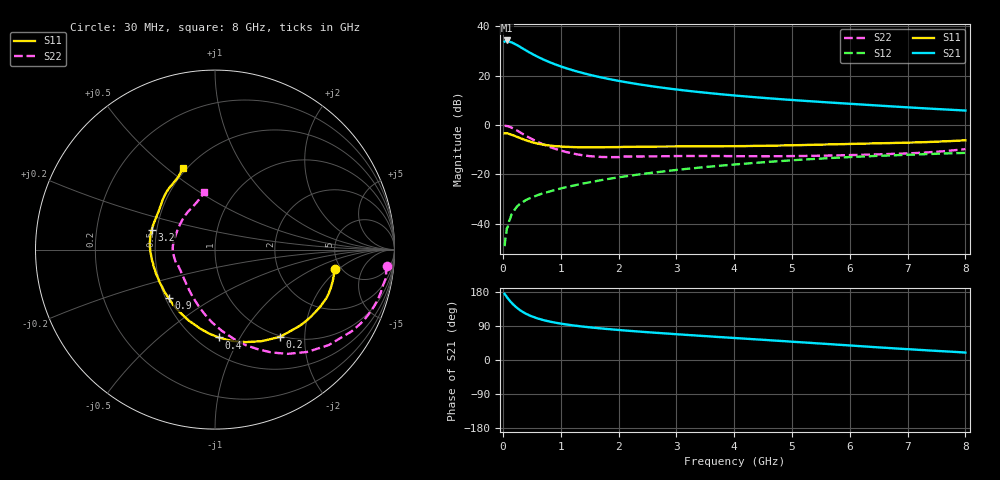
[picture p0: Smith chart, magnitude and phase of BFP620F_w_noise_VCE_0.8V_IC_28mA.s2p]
! Infineon Technologies  Discrete & RF Semiconductors
! BFP620F
! VCE =  0.8 V,  IC =  28 mA
! Common Emitter S-Parameters:  Dec 2014
# GHz  S  MA  R  50
!  f  S11  S21  S12  S22
! GHz  MAG  ANG  MAG  ANG  MAG  ANG  MAG  ANG
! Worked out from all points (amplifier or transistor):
!   95 points, 30 MHz to 8 GHz, reference 50 ohm
!   highest |S21| = 34.3 dB at 70 MHz (marker M1)
!   |S21| within 3 dB of that: start of sweep to 324.6 MHz
!   unconditionally stable (mu >= 1): 2.509 GHz to end of sweep
!   at 300 MHz: K = 0.36, MSG = 31.8 dB, |S12| = -31.9 dB
!   at 3.3 GHz: K = 1.02, MAG = 14.7 dB, |S12| = -17.5 dB
!   at 8 GHz: K = 1.06, MAG = 7.1 dB, |S12| = -11.3 dB
!   lowest NFmin = 1.08 dB at 450 MHz
!   S11 on the Smith chart (normalised r, x): 30 MHz: 4.41, -1.80; 200 MHz: 0.98, -1.51; 400 MHz: 0.63, -0.82; 900 MHz: 0.52, -0.32; 3.2 GHz: 0.47, +0.12; 8 GHz: 0.47, +0.57
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0.03  0.6763 -9.4  49.17 174.5  0.0035 94.8  0.9607 -5.4
0.05  0.6793 -15.4  51.25 170.3  0.0057 80.4  0.9636 -10.0
0.07  0.6793 -20.7  51.86 166.0  0.0082 83.0  0.9545 -14.4
0.1  0.6657 -29.1  50.1 159.9  0.0103 77.5  0.9365 -20.8
0.15  0.6345 -42.1  47.55 151.1  0.0155 73.9  0.8864 -31.0
0.2  0.6065 -53.3  44.47 143.5  0.0189 70.4  0.8275 -40.0
0.25  0.5725 -63.0  41.4 136.9  0.0227 65.9  0.7673 -48.0
0.3  0.5427 -71.8  38.28 131.2  0.0253 63.8  0.7082 -55.1
0.4  0.4898 -87.6  32.57 122.1  0.0302 60.9  0.6024 -66.9
0.5  0.4498 -100.0  27.92 115.2  0.034 59.1  0.5214 -76.7
0.6  0.4208 -110.7  24.27 109.7  0.0379 58.6  0.455 -85.1
0.7  0.3996 -119.6  21.34 105.3  0.0415 58.0  0.4044 -92.6
0.9  0.3734 -133.9  17.06 98.7  0.0483 58.4  0.3306 -105.6
1.1  0.3602 -145.1  14.13 93.7  0.0552 58.8  0.2829 -117.6
1.4  0.3548 -157.8  11.2 87.9  0.0655 59.2  0.2422 -133.5
2  0.3576 -175.4  7.869 79.3  0.0872 58.4  0.2241 -158.5
2.7  0.3663 171.0  5.841 71.3  0.1119 55.4  0.2326 -173.2
3.2  0.3691 163.0  4.941 66.0  0.1299 53.0  0.2357 179.6
4.1  0.3739 151.0  3.888 57.1  0.1618 47.7  0.2335 168.1
5.4  0.3982 137.8  2.993 44.3  0.2058 38.5  0.238 147.3
6.7  0.4313 124.7  2.399 31.4  0.2422 28.4  0.2591 125.5
8  0.4912 111.5  1.966 19.6  0.2724 18.5  0.3246 100.4
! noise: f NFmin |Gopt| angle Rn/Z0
0.45  1.08  0.03  -173  0.19
0.9  1.11  0.04  -171  0.15
1.5  1.12  0.08  -149  0.15
1.8  1.14  0.08  -147  0.17
1.9  1.14  0.08  -146  0.15
2.4  1.16  0.09  -146  0.17
3.5  1.23  0.12  -142  0.17
5.5  1.38  0.2  239  0.13
6  1.42  0.2  259  0.15
